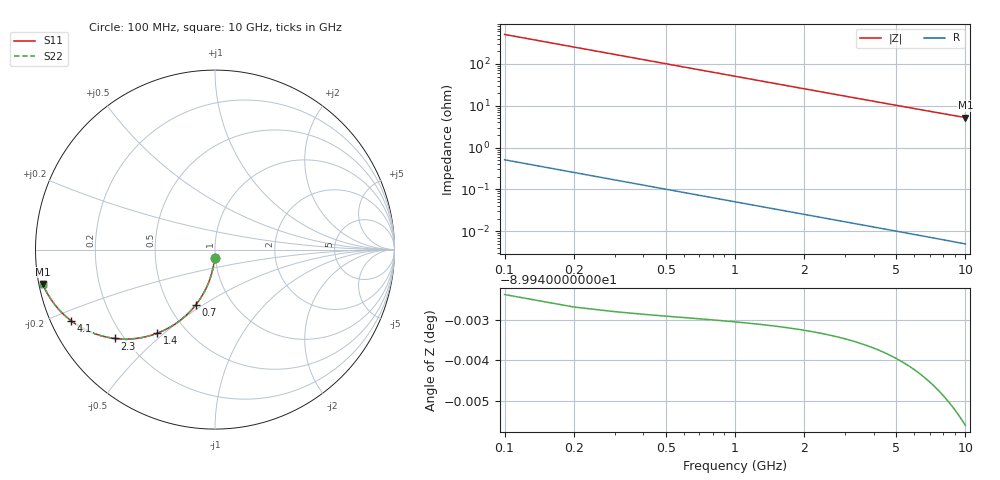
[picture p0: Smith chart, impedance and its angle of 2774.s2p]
# Hz S RI R 50.00
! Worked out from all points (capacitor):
!   100 points, 100 MHz to 10 GHz, reference 50 ohm
!   read as one part in shunt: C = 3.13 pF near 100 MHz
!   lowest |Z| = 5.23 ohm at 10 GHz (marker M1)
!   S11 on the Smith chart (normalised r, x): 100 MHz: 0.99, -0.10; 700 MHz: 0.68, -0.47; 1.4 GHz: 0.35, -0.47; 2.3 GHz: 0.17, -0.37; 4.1 GHz: 0.06, -0.23; 10 GHz: 0.01, -0.10
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1e8  -0.00245 -0.049  0.9975 -0.0491  0.9975 -0.0491  -0.00245 -0.049
2e8  -0.00967 -0.0973  0.9903 -0.0975  0.9903 -0.0975  -0.00967 -0.0973
3e8  -0.0214 -0.1442  0.9786 -0.1445  0.9786 -0.1445  -0.0214 -0.1442
4e8  -0.0374 -0.1891  0.9626 -0.1894  0.9626 -0.1894  -0.0374 -0.1891
5e8  -0.0572 -0.2315  0.9428 -0.2319  0.9428 -0.2319  -0.0572 -0.2315
6e8  -0.0802 -0.2709  0.9198 -0.2714  0.9198 -0.2714  -0.0802 -0.2709
7e8  -0.106 -0.3071  0.8939 -0.3077  0.8939 -0.3077  -0.106 -0.3071
8e8  -0.1341 -0.3399  0.8659 -0.3406  0.8659 -0.3406  -0.1341 -0.3399
1e9  -0.1946 -0.395  0.8054 -0.3959  0.8054 -0.3959  -0.1946 -0.395
1.2e9  -0.2579 -0.4365  0.7421 -0.4375  0.7421 -0.4375  -0.2579 -0.4365
1.4e9  -0.3209 -0.4657  0.679 -0.467  0.679 -0.467  -0.3209 -0.4657
1.6e9  -0.3814 -0.4845  0.6185 -0.4859  0.6185 -0.4859  -0.3814 -0.4845
1.8e9  -0.4381 -0.4949  0.5619 -0.4964  0.5619 -0.4964  -0.4381 -0.4949
2.3e9  -0.5595 -0.4949  0.4405 -0.497  0.4405 -0.497  -0.5595 -0.4949
2.8e9  -0.6526 -0.4744  0.3474 -0.4769  0.3474 -0.4769  -0.6526 -0.4744
3.4e9  -0.7343 -0.4397  0.2657 -0.4427  0.2657 -0.4427  -0.7343 -0.4397
4.1e9  -0.8004 -0.3974  0.1996 -0.401  0.1996 -0.401  -0.8004 -0.3974
5.1e9  -0.8609 -0.3433  0.1391 -0.3478  0.1391 -0.3478  -0.8609 -0.3433
5.8e9  -0.8888 -0.3113  0.1112 -0.3165  0.1112 -0.3165  -0.8888 -0.3113
6.7e9  -0.9142 -0.2766  0.0858 -0.2826  0.0858 -0.2826  -0.9142 -0.2766
8.4e9  -0.9436 -0.2263  0.0564 -0.234  0.0564 -0.234  -0.9436 -0.2263
1e10  -0.9595 -0.1919  0.0404 -0.201  0.0404 -0.201  -0.9595 -0.1919
